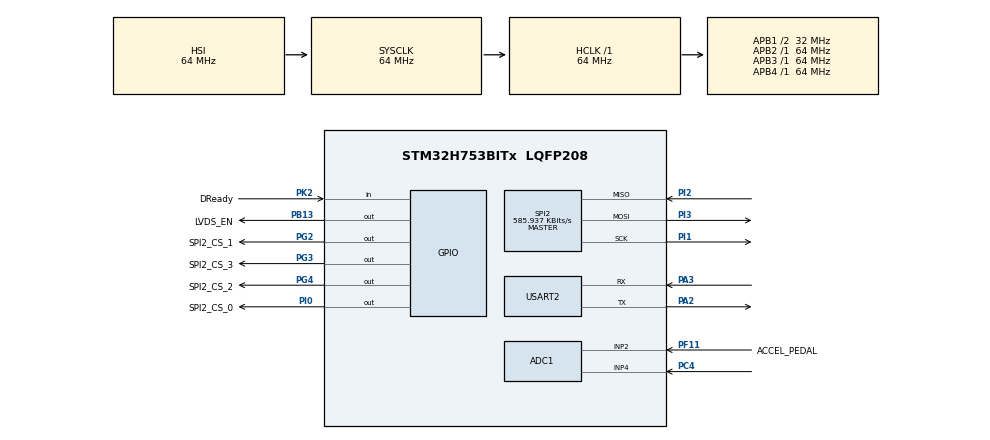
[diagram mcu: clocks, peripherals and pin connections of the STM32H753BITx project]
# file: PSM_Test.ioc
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ADC1.Channel-0\#ChannelRegularConversion=ADC_CHANNEL_2
ADC1.Channel-1\#ChannelRegularConversion=ADC_CHANNEL_2
ADC1.NbrOfConversion=2
ADC1.NbrOfConversionFlag=1
ADC1.OffsetNumber-0\#ChannelRegularConversion=ADC_OFFSET_NONE
ADC1.OffsetNumber-1\#ChannelRegularConversion=ADC_OFFSET_NONE
ADC1.OffsetSignedSaturation-0\#ChannelRegularConversion=DISABLE
ADC1.OffsetSignedSaturation-1\#ChannelRegularConversion=DISABLE
ADC1.Rank-0\#ChannelRegularConversion=1
ADC1.Rank-1\#ChannelRegularConversion=2
ADC1.SamplingTime-0\#ChannelRegularConversion=ADC_SAMPLETIME_64CYCLES_5
ADC1.SamplingTime-1\#ChannelRegularConversion=ADC_SAMPLETIME_64CYCLES_5
ADC1.master=1
CORTEX_M7.CPU_ICache=Disabled
Dma.ADC1.0.Direction=DMA_PERIPH_TO_MEMORY
Dma.ADC1.0.EventEnable=DISABLE
Dma.ADC1.0.FIFOMode=DMA_FIFOMODE_DISABLE
Dma.ADC1.0.Instance=DMA1_Stream0
Dma.ADC1.0.MemDataAlignment=DMA_MDATAALIGN_HALFWORD
Dma.ADC1.0.MemInc=DMA_MINC_ENABLE
Dma.ADC1.0.Mode=DMA_NORMAL
Dma.ADC1.0.PeriphDataAlignment=DMA_PDATAALIGN_HALFWORD
Dma.ADC1.0.PeriphInc=DMA_PINC_DISABLE
Dma.ADC1.0.Polarity=HAL_DMAMUX_REQ_GEN_RISING
Dma.ADC1.0.Priority=DMA_PRIORITY_HIGH
Dma.ADC1.0.RequestNumber=1
Dma.ADC1.0.SignalID=NONE
Dma.ADC1.0.SyncEnable=DISABLE
Dma.ADC1.0.SyncPolarity=HAL_DMAMUX_SYNC_NO_EVENT
Dma.ADC1.0.SyncRequestNumber=1
Dma.ADC1.0.SyncSignalID=NONE
Dma.Request0=ADC1
Mcu.Family=STM32H7
Mcu.Name=STM32H753BITx
Mcu.Package=LQFP208
NVIC.DMA1_Stream0_IRQn=true\:0\:0\:false\:false\:true\:false\:true\:true
NVIC.PriorityGroup=NVIC_PRIORITYGROUP_4
PA13\ (JTMS/SWDIO).Mode=Serial_Wire
PA13\ (JTMS/SWDIO).Signal=DEBUG_JTMS-SWDIO
PA14\ (JTCK/SWCLK).Mode=Serial_Wire
PA14\ (JTCK/SWCLK).Signal=DEBUG_JTCK-SWCLK
PA2.Mode=Asynchronous
PA2.Signal=USART2_TX
PA3.Mode=Asynchronous
PA3.Signal=USART2_RX
PB13.GPIO_Label=LVDS_EN
PB13.Signal=GPIO_Output
PC4.Signal=ADCx_INP4
PF11.GPIO_Label=ACCEL_PEDAL
PF11.Mode=IN2-Single-Ended
PF11.Signal=ADC1_INP2
PG2.GPIO_Label=SPI2_CS_1
PG2.Signal=GPIO_Output
PG3.GPIO_Label=SPI2_CS_3
PG3.Signal=GPIO_Output
PG4.GPIO_Label=SPI2_CS_2
PG4.Signal=GPIO_Output
PI0.GPIO_Label=SPI2_CS_0
PI0.Signal=GPIO_Output
PI1.Mode=Full_Duplex_Master
PI1.Signal=SPI2_SCK
PI2.Mode=Full_Duplex_Master
PI2.Signal=SPI2_MISO
PI3.Mode=Full_Duplex_Master
PI3.Signal=SPI2_MOSI
PK2.GPIO_Label=DReady
PK2.Signal=GPIO_Input
ProjectManager.HeapSize=0x200
ProjectManager.StackSize=0x400
ProjectManager.TargetToolchain=STM32CubeIDE
RCC.ADCFreq_Value=37500000
RCC.APB1Freq_Value=32000000
RCC.APB2Freq_Value=64000000
RCC.APB3Freq_Value=64000000
RCC.APB4Freq_Value=64000000
RCC.CortexFreq_Value=64000000
RCC.D2PPRE1=RCC_APB1_DIV2
RCC.DIVM1=4
RCC.DIVM2=4
RCC.DIVN1=9
RCC.DIVN2=9
RCC.DIVP2=4
RCC.HCLKFreq_Value=64000000
RCC.HSE_VALUE=32000000
RCC.PLL2FRACN=3072
RCC.PLLFRACN=3072
RCC.SYSCLKFreq_VALUE=64000000
RCC.USBFreq_Value=75000000
SH.ADCx_INP4.0=ADC2_INP4
SH.ADCx_INP4.1=ADC1_INP4,IN4-Single-Ended
SPI2.BaudRatePrescaler=SPI_BAUDRATEPRESCALER_128
SPI2.CalculateBaudRate=585.937 KBits/s
SPI2.DataSize=SPI_DATASIZE_8BIT
SPI2.Direction=SPI_DIRECTION_2LINES
SPI2.Mode=SPI_MODE_MASTER
SPI2.VirtualType=VM_MASTER
USART2.VirtualMode-Asynchronous=VM_ASYNC
VREF+.Mode=InternalMode
VREF+.Signal=VREFBUF_OUT
board=custom

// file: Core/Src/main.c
/* USER CODE BEGIN Header */
/**
  ******************************************************************************
  * @file           : main.c
  * @brief          : Main program body
  ******************************************************************************
  * @attention
  *
  * Copyright (c) 2022 STMicroelectronics.
  * All rights reserved.
  *
  * This software is licensed under terms that can be found in the LICENSE file
  * in the root directory of this software component.
  * If no LICENSE file comes with this software, it is provided AS-IS.
  *
  ******************************************************************************
  */
/* USER CODE END Header */
#include "main.h"

/* USER CODE BEGIN Includes */
#include "psm.h"
#include <stdlib.h>
#include <string.h>
#include <stdio.h>

/* USER CODE END Includes */

ADC_HandleTypeDef hadc1;
DMA_HandleTypeDef hdma_adc1;

SPI_HandleTypeDef hspi2;

UART_HandleTypeDef huart2;

/* USER CODE BEGIN PV */
uint32_t pedals_readings[2];

/* USER CODE END PV */

void SystemClock_Config(void);
static void MX_GPIO_Init(void);
static void MX_SPI2_Init(void);
static void MX_DMA_Init(void);
static void MX_ADC1_Init(void);
static void MX_USART2_UART_Init(void);

int main(void)
{

  /* MCU Configuration--------------------------------------------------------*/

  /* Reset of all peripherals, Initializes the Flash interface and the Systick. */
  HAL_Init();

  /* Configure the system clock */
  SystemClock_Config();

  /* Initialize all configured peripherals */
  MX_GPIO_Init();
  MX_SPI2_Init();
  MX_DMA_Init();
  MX_ADC1_Init();
  MX_USART2_UART_Init();
  /* USER CODE BEGIN 2 */

  //PSM-related variables
	struct PSM_Peripheral psmPeriph;

	psmPeriph.CSPin0 = SPI2_CS_0_Pin;
	psmPeriph.CSPin1 = SPI2_CS_1_Pin;
	psmPeriph.CSPin2 = SPI2_CS_2_Pin;
	psmPeriph.CSPin3 = SPI2_CS_3_Pin;

	psmPeriph.CSPort0 = SPI2_CS_0_GPIO_Port;
	psmPeriph.CSPort1 = SPI2_CS_1_GPIO_Port;
	psmPeriph.CSPort2 = SPI2_CS_2_GPIO_Port;
	psmPeriph.CSPort3 = SPI2_CS_3_GPIO_Port;

	psmPeriph.LVDSPort = LVDS_EN_GPIO_Port;
	psmPeriph.LVDSPin = LVDS_EN_Pin;

	psmPeriph.DreadyPin = DReady_Pin;
	psmPeriph.DreadyPort = DReady_GPIO_Port;

	PSM_Init(&psmPeriph, 2); //2nd argument is PSM ID (2 for MCMB)
	configPSM(&psmPeriph, &hspi2, &huart2, "12", 2000); //2000ms timeout

	//Uncomment for PSM #2
//	PSM_Init(&psmPeriph, 2); //2nd argument is PSM ID
//	configPSM(&psmPeriph, &hspi2, &huart2, "1");

	//Uncomment for PSM #3
//	PSM_Init(&psmPeriph, 3); //2nd argument is PSM ID
//	configPSM(&psmPeriph, &hspi2, &huart2, "1234");

  /* USER CODE END 2 */

  /* Infinite loop */
  while (1){

    /* USER CODE BEGIN 3 */

	  double PSM_Measurement[2] = {-1, -1};

	PSMRead(&psmPeriph, &hspi2, &huart2, 1, 2, 1, PSM_Measurement, 2);

	  //Uncomment for PSM #1
//	  /* CHANNEL #1 */ PSMRead(&psmPeriph, &hspi2, &huart2, 1, 2, 1, PSM_Measurement, 2);
//	  /* CHANNEL #2 */ PSMRead(&psmPerioh, &hspi2, &huart2, 1, 2, 2, PSM_Measurement, 2);

//	  Uncomment for PSM #2
//	  /* CHANNEL #1 */ PSMRead(&psmPeriph, &hspi2, &huart2, 0, 1, 1, PSM_Measurement, 2);
		PSMRead(&psmPeriph, &hspi2, &huart2, 1, 2, 1, PSM_Measurement, 2);

	  //Uncomment for PSM #3
//	  /* CHANNEL #1 */ PSMRead(&psmPerioh, &hspi2, &huart2, 1, 2, 1, PSM_Measurement, 2);
//	  /* CHANNEL #2 */ PSMRead(&psmPerioh, &hspi2, &huart2, 1, 2, 2, PSM_Measurement, 2);
//	  /* CHANNEL #3 */ PSMRead(&psmPerioh, &hspi2, &huart2, 1, 2, 3, PSM_Measurement, 2);
//	  /* CHANNEL #4 */ PSMRead(&psmPerioh, &hspi2, &huart2, 1, 2, 4, PSM_Measurement, 2);

//      HAL_ADC_Start(&hadc1);
      HAL_ADC_PollForConversion(&hadc1, 1);
//      pedals_readings[0] = HAL_ADC_GetValue(&hadc1);
//      pedals_readings[1] = HAL_ADC_GetValue(&hadc1);
//
//      char string[50];
//      sprintf(string, "Accel: %d\nRegen: %d\n\n", pedals_readings[0], pedals_readings[1]);
//      HAL_UART_Transmit(&huart2, string, sizeof(string), 10);

//	  char string[50];
//	  sprintf(string, "xx%lf, %lf\n", PSM_Measurement[0], PSM_Measurement[1]);
//      HAL_UART_Transmit(&huart2, string, sizeof(string), 10);

//	  HAL_Delay(2000);
  }
  /* USER CODE END 3 */
}

void SystemClock_Config(void)
{
  RCC_OscInitTypeDef RCC_OscInitStruct = {0};
  RCC_ClkInitTypeDef RCC_ClkInitStruct = {0};

  /** Supply configuration update enable
  */
  HAL_PWREx_ConfigSupply(PWR_LDO_SUPPLY);
  /** Configure the main internal regulator output voltage
  */
  __HAL_PWR_VOLTAGESCALING_CONFIG(PWR_REGULATOR_VOLTAGE_SCALE3);

  while(!__HAL_PWR_GET_FLAG(PWR_FLAG_VOSRDY)) {}
  /** Macro to configure the PLL clock source
  */
  __HAL_RCC_PLL_PLLSOURCE_CONFIG(RCC_PLLSOURCE_HSI);
  /** Initializes the RCC Oscillators according to the specified parameters
  * in the RCC_OscInitTypeDef structure.
  */
  RCC_OscInitStruct.OscillatorType = RCC_OSCILLATORTYPE_HSI;
  RCC_OscInitStruct.HSIState = RCC_HSI_DIV1;
  RCC_OscInitStruct.HSICalibrationValue = RCC_HSICALIBRATION_DEFAULT;
  RCC_OscInitStruct.PLL.PLLState = RCC_PLL_ON;
  RCC_OscInitStruct.PLL.PLLSource = RCC_PLLSOURCE_HSI;
  RCC_OscInitStruct.PLL.PLLM = 4;
  RCC_OscInitStruct.PLL.PLLN = 9;
  RCC_OscInitStruct.PLL.PLLP = 2;
  RCC_OscInitStruct.PLL.PLLQ = 2;
  RCC_OscInitStruct.PLL.PLLR = 2;
  RCC_OscInitStruct.PLL.PLLRGE = RCC_PLL1VCIRANGE_3;
  RCC_OscInitStruct.PLL.PLLVCOSEL = RCC_PLL1VCOMEDIUM;
  RCC_OscInitStruct.PLL.PLLFRACN = 3072;
  if (HAL_RCC_OscConfig(&RCC_OscInitStruct) != HAL_OK)
  {
    Error_Handler();
  }
  /** Initializes the CPU, AHB and APB buses clocks
  */
  RCC_ClkInitStruct.ClockType = RCC_CLOCKTYPE_HCLK|RCC_CLOCKTYPE_SYSCLK
                              |RCC_CLOCKTYPE_PCLK1|RCC_CLOCKTYPE_PCLK2
                              |RCC_CLOCKTYPE_D3PCLK1|RCC_CLOCKTYPE_D1PCLK1;
  RCC_ClkInitStruct.SYSCLKSource = RCC_SYSCLKSOURCE_HSI;
  RCC_ClkInitStruct.SYSCLKDivider = RCC_SYSCLK_DIV1;
  RCC_ClkInitStruct.AHBCLKDivider = RCC_HCLK_DIV1;
  RCC_ClkInitStruct.APB3CLKDivider = RCC_APB3_DIV1;
  RCC_ClkInitStruct.APB1CLKDivider = RCC_APB1_DIV2;
  RCC_ClkInitStruct.APB2CLKDivider = RCC_APB2_DIV1;
  RCC_ClkInitStruct.APB4CLKDivider = RCC_APB4_DIV1;

  if (HAL_RCC_ClockConfig(&RCC_ClkInitStruct, FLASH_LATENCY_1) != HAL_OK)
  {
    Error_Handler();
  }
}

static void MX_ADC1_Init(void)
{

  ADC_MultiModeTypeDef multimode = {0};
  ADC_ChannelConfTypeDef sConfig = {0};

  /** Common config
  */
  hadc1.Instance = ADC1;
  hadc1.Init.ClockPrescaler = ADC_CLOCK_ASYNC_DIV1;
  hadc1.Init.Resolution = ADC_RESOLUTION_16B;
  hadc1.Init.ScanConvMode = ADC_SCAN_ENABLE;
  hadc1.Init.EOCSelection = ADC_EOC_SINGLE_CONV;
  hadc1.Init.LowPowerAutoWait = DISABLE;
  hadc1.Init.ContinuousConvMode = DISABLE;
  hadc1.Init.NbrOfConversion = 2;
  hadc1.Init.DiscontinuousConvMode = DISABLE;
  hadc1.Init.ExternalTrigConv = ADC_SOFTWARE_START;
  hadc1.Init.ExternalTrigConvEdge = ADC_EXTERNALTRIGCONVEDGE_NONE;
  hadc1.Init.ConversionDataManagement = ADC_CONVERSIONDATA_DR;
  hadc1.Init.Overrun = ADC_OVR_DATA_PRESERVED;
  hadc1.Init.LeftBitShift = ADC_LEFTBITSHIFT_NONE;
  hadc1.Init.OversamplingMode = DISABLE;
  if (HAL_ADC_Init(&hadc1) != HAL_OK)
  {
    Error_Handler();
  }
  /** Configure the ADC multi-mode
  */
  multimode.Mode = ADC_MODE_INDEPENDENT;
  if (HAL_ADCEx_MultiModeConfigChannel(&hadc1, &multimode) != HAL_OK)
  {
    Error_Handler();
  }
  /** Configure Regular Channel
  */
  sConfig.Channel = ADC_CHANNEL_2;
  sConfig.Rank = ADC_REGULAR_RANK_1;
  sConfig.SamplingTime = ADC_SAMPLETIME_64CYCLES_5;
  sConfig.SingleDiff = ADC_SINGLE_ENDED;
  sConfig.OffsetNumber = ADC_OFFSET_NONE;
  sConfig.Offset = 0;
  sConfig.OffsetSignedSaturation = DISABLE;
  if (HAL_ADC_ConfigChannel(&hadc1, &sConfig) != HAL_OK)
  {
    Error_Handler();
  }
  /** Configure Regular Channel
  */
  sConfig.Rank = ADC_REGULAR_RANK_2;
  if (HAL_ADC_ConfigChannel(&hadc1, &sConfig) != HAL_OK)
  {
    Error_Handler();
  }

}

static void MX_SPI2_Init(void)
{

  /* SPI2 parameter configuration*/
  hspi2.Instance = SPI2;
  hspi2.Init.Mode = SPI_MODE_MASTER;
  hspi2.Init.Direction = SPI_DIRECTION_2LINES;
  hspi2.Init.DataSize = SPI_DATASIZE_8BIT;
  hspi2.Init.CLKPolarity = SPI_POLARITY_LOW;
  hspi2.Init.CLKPhase = SPI_PHASE_1EDGE;
  hspi2.Init.NSS = SPI_NSS_SOFT;
  hspi2.Init.BaudRatePrescaler = SPI_BAUDRATEPRESCALER_128;
  hspi2.Init.FirstBit = SPI_FIRSTBIT_MSB;
  hspi2.Init.TIMode = SPI_TIMODE_DISABLE;
  hspi2.Init.CRCCalculation = SPI_CRCCALCULATION_DISABLE;
  hspi2.Init.CRCPolynomial = 0x0;
  hspi2.Init.NSSPMode = SPI_NSS_PULSE_ENABLE;
  hspi2.Init.NSSPolarity = SPI_NSS_POLARITY_LOW;
  hspi2.Init.FifoThreshold = SPI_FIFO_THRESHOLD_01DATA;
  hspi2.Init.TxCRCInitializationPattern = SPI_CRC_INITIALIZATION_ALL_ZERO_PATTERN;
  hspi2.Init.RxCRCInitializationPattern = SPI_CRC_INITIALIZATION_ALL_ZERO_PATTERN;
  hspi2.Init.MasterSSIdleness = SPI_MASTER_SS_IDLENESS_00CYCLE;
  hspi2.Init.MasterInterDataIdleness = SPI_MASTER_INTERDATA_IDLENESS_00CYCLE;
  hspi2.Init.MasterReceiverAutoSusp = SPI_MASTER_RX_AUTOSUSP_DISABLE;
  hspi2.Init.MasterKeepIOState = SPI_MASTER_KEEP_IO_STATE_DISABLE;
  hspi2.Init.IOSwap = SPI_IO_SWAP_DISABLE;
  if (HAL_SPI_Init(&hspi2) != HAL_OK)
  {
    Error_Handler();
  }

}

static void MX_USART2_UART_Init(void)
{

  huart2.Instance = USART2;
  huart2.Init.BaudRate = 115200;
  huart2.Init.WordLength = UART_WORDLENGTH_8B;
  huart2.Init.StopBits = UART_STOPBITS_1;
  huart2.Init.Parity = UART_PARITY_NONE;
  huart2.Init.Mode = UART_MODE_TX_RX;
  huart2.Init.HwFlowCtl = UART_HWCONTROL_NONE;
  huart2.Init.OverSampling = UART_OVERSAMPLING_16;
  huart2.Init.OneBitSampling = UART_ONE_BIT_SAMPLE_DISABLE;
  huart2.Init.ClockPrescaler = UART_PRESCALER_DIV1;
  huart2.AdvancedInit.AdvFeatureInit = UART_ADVFEATURE_NO_INIT;
  if (HAL_UART_Init(&huart2) != HAL_OK)
  {
    Error_Handler();
  }
  if (HAL_UARTEx_SetTxFifoThreshold(&huart2, UART_TXFIFO_THRESHOLD_1_8) != HAL_OK)
  {
    Error_Handler();
  }
  if (HAL_UARTEx_SetRxFifoThreshold(&huart2, UART_RXFIFO_THRESHOLD_1_8) != HAL_OK)
  {
    Error_Handler();
  }
  if (HAL_UARTEx_DisableFifoMode(&huart2) != HAL_OK)
  {
    Error_Handler();
  }

}

static void MX_DMA_Init(void)
{

  /* DMA controller clock enable */
  __HAL_RCC_DMA1_CLK_ENABLE();

  /* DMA interrupt init */
  /* DMA1_Stream0_IRQn interrupt configuration */
  HAL_NVIC_SetPriority(DMA1_Stream0_IRQn, 0, 0);
  HAL_NVIC_EnableIRQ(DMA1_Stream0_IRQn);

}

static void MX_GPIO_Init(void)
{
  GPIO_InitTypeDef GPIO_InitStruct = {0};

  /* GPIO Ports Clock Enable */
  __HAL_RCC_GPIOE_CLK_ENABLE();
  __HAL_RCC_GPIOI_CLK_ENABLE();
  __HAL_RCC_GPIOC_CLK_ENABLE();
  __HAL_RCC_GPIOF_CLK_ENABLE();
  __HAL_RCC_GPIOH_CLK_ENABLE();
  __HAL_RCC_GPIOA_CLK_ENABLE();
  __HAL_RCC_GPIOB_CLK_ENABLE();
  __HAL_RCC_GPIOJ_CLK_ENABLE();
  __HAL_RCC_GPIOG_CLK_ENABLE();
  __HAL_RCC_GPIOD_CLK_ENABLE();
  __HAL_RCC_GPIOK_CLK_ENABLE();

  /*Configure GPIO pin Output Level */
  HAL_GPIO_WritePin(LVDS_EN_GPIO_Port, LVDS_EN_Pin, GPIO_PIN_RESET);

  /*Configure GPIO pin Output Level */
  HAL_GPIO_WritePin(GPIOG, SPI2_CS_1_Pin|SPI2_CS_3_Pin|SPI2_CS_2_Pin, GPIO_PIN_RESET);

  /*Configure GPIO pin Output Level */
  HAL_GPIO_WritePin(SPI2_CS_0_GPIO_Port, SPI2_CS_0_Pin, GPIO_PIN_RESET);

  /*Configure GPIO pins : PE2 PE3 PE4 PE5
                           PE6 PE7 PE8 PE9
                           PE10 PE11 PE12 PE13
                           PE14 PE15 PE0 PE1 */
  GPIO_InitStruct.Pin = GPIO_PIN_2|GPIO_PIN_3|GPIO_PIN_4|GPIO_PIN_5
                          |GPIO_PIN_6|GPIO_PIN_7|GPIO_PIN_8|GPIO_PIN_9
                          |GPIO_PIN_10|GPIO_PIN_11|GPIO_PIN_12|GPIO_PIN_13
                          |GPIO_PIN_14|GPIO_PIN_15|GPIO_PIN_0|GPIO_PIN_1;
  GPIO_InitStruct.Mode = GPIO_MODE_ANALOG;
  GPIO_InitStruct.Pull = GPIO_NOPULL;
  HAL_GPIO_Init(GPIOE, &GPIO_InitStruct);

  /*Configure GPIO pins : PI8 PI9 PI10 PI11
                           PI12 PI13 PI14 PI15
                           PI4 PI5 PI6 PI7 */
  GPIO_InitStruct.Pin = GPIO_PIN_8|GPIO_PIN_9|GPIO_PIN_10|GPIO_PIN_11
                          |GPIO_PIN_12|GPIO_PIN_13|GPIO_PIN_14|GPIO_PIN_15
                          |GPIO_PIN_4|GPIO_PIN_5|GPIO_PIN_6|GPIO_PIN_7;
  GPIO_InitStruct.Mode = GPIO_MODE_ANALOG;
  GPIO_InitStruct.Pull = GPIO_NOPULL;
  HAL_GPIO_Init(GPIOI, &GPIO_InitStruct);

  /*Configure GPIO pins : PC13 PC14 PC15 PC0
                           PC1 PC2 PC3 PC4
                           PC5 PC6 PC7 PC8
                           PC9 PC10 PC11 PC12 */
  GPIO_InitStruct.Pin = GPIO_PIN_13|GPIO_PIN_14|GPIO_PIN_15|GPIO_PIN_0
                          |GPIO_PIN_1|GPIO_PIN_2|GPIO_PIN_3|GPIO_PIN_4
                          |GPIO_PIN_5|GPIO_PIN_6|GPIO_PIN_7|GPIO_PIN_8
                          |GPIO_PIN_9|GPIO_PIN_10|GPIO_PIN_11|GPIO_PIN_12;
  GPIO_InitStruct.Mode = GPIO_MODE_ANALOG;
  GPIO_InitStruct.Pull = GPIO_NOPULL;
  HAL_GPIO_Init(GPIOC, &GPIO_InitStruct);

  /*Configure GPIO pins : PF0 PF1 PF2 PF3
                           PF4 PF5 PF6 PF7
                           PF8 PF9 PF10 PF12
                           PF13 PF14 PF15 */
  GPIO_InitStruct.Pin = GPIO_PIN_0|GPIO_PIN_1|GPIO_PIN_2|GPIO_PIN_3
                          |GPIO_PIN_4|GPIO_PIN_5|GPIO_PIN_6|GPIO_PIN_7
                          |GPIO_PIN_8|GPIO_PIN_9|GPIO_PIN_10|GPIO_PIN_12
                          |GPIO_PIN_13|GPIO_PIN_14|GPIO_PIN_15;
  GPIO_InitStruct.Mode = GPIO_MODE_ANALOG;
  GPIO_InitStruct.Pull = GPIO_NOPULL;
  HAL_GPIO_Init(GPIOF, &GPIO_InitStruct);

  /*Configure GPIO pins : PH0 PH1 PH2 PH3
                           PH4 PH5 PH6 PH7
                           PH8 PH9 PH10 PH11
                           PH12 PH13 PH14 PH15 */
  GPIO_InitStruct.Pin = GPIO_PIN_0|GPIO_PIN_1|GPIO_PIN_2|GPIO_PIN_3
                          |GPIO_PIN_4|GPIO_PIN_5|GPIO_PIN_6|GPIO_PIN_7
                          |GPIO_PIN_8|GPIO_PIN_9|GPIO_PIN_10|GPIO_PIN_11
                          |GPIO_PIN_12|GPIO_PIN_13|GPIO_PIN_14|GPIO_PIN_15;
  GPIO_InitStruct.Mode = GPIO_MODE_ANALOG;
  GPIO_InitStruct.Pull = GPIO_NOPULL;
  HAL_GPIO_Init(GPIOH, &GPIO_InitStruct);

  /*Configure GPIO pins : PA0 PA1 PA4 PA5
                           PA6 PA7 PA8 PA9
                           PA10 PA11 PA12 PA15 */
  GPIO_InitStruct.Pin = GPIO_PIN_0|GPIO_PIN_1|GPIO_PIN_4|GPIO_PIN_5
                          |GPIO_PIN_6|GPIO_PIN_7|GPIO_PIN_8|GPIO_PIN_9
                          |GPIO_PIN_10|GPIO_PIN_11|GPIO_PIN_12|GPIO_PIN_15;
  GPIO_InitStruct.Mode = GPIO_MODE_ANALOG;
  GPIO_InitStruct.Pull = GPIO_NOPULL;
  HAL_GPIO_Init(GPIOA, &GPIO_InitStruct);

  /*Configure GPIO pins : PB0 PB1 PB2 PB10
                           PB11 PB12 PB14 PB15
                           PB3 PB4 PB5 PB6
                           PB7 PB8 PB9 */
  GPIO_InitStruct.Pin = GPIO_PIN_0|GPIO_PIN_1|GPIO_PIN_2|GPIO_PIN_10
                          |GPIO_PIN_11|GPIO_PIN_12|GPIO_PIN_14|GPIO_PIN_15
                          |GPIO_PIN_3|GPIO_PIN_4|GPIO_PIN_5|GPIO_PIN_6
                          |GPIO_PIN_7|GPIO_PIN_8|GPIO_PIN_9;
  GPIO_InitStruct.Mode = GPIO_MODE_ANALOG;
  GPIO_InitStruct.Pull = GPIO_NOPULL;
  HAL_GPIO_Init(GPIOB, &GPIO_InitStruct);

  /*Configure GPIO pins : PJ0 PJ1 PJ2 PJ3
                           PJ4 PJ5 PJ6 PJ7
                           PJ8 PJ9 PJ10 PJ11
                           PJ12 PJ13 PJ14 PJ15 */
  GPIO_InitStruct.Pin = GPIO_PIN_0|GPIO_PIN_1|GPIO_PIN_2|GPIO_PIN_3
                          |GPIO_PIN_4|GPIO_PIN_5|GPIO_PIN_6|GPIO_PIN_7
                          |GPIO_PIN_8|GPIO_PIN_9|GPIO_PIN_10|GPIO_PIN_11
                          |GPIO_PIN_12|GPIO_PIN_13|GPIO_PIN_14|GPIO_PIN_15;
  GPIO_InitStruct.Mode = GPIO_MODE_ANALOG;
  GPIO_InitStruct.Pull = GPIO_NOPULL;
  HAL_GPIO_Init(GPIOJ, &GPIO_InitStruct);

  /*Configure GPIO pins : PG0 PG1 PG5 PG6
                           PG7 PG8 PG9 PG10
                           PG11 PG12 PG13 PG14
                           PG15 */
  GPIO_InitStruct.Pin = GPIO_PIN_0|GPIO_PIN_1|GPIO_PIN_5|GPIO_PIN_6
                          |GPIO_PIN_7|GPIO_PIN_8|GPIO_PIN_9|GPIO_PIN_10
                          |GPIO_PIN_11|GPIO_PIN_12|GPIO_PIN_13|GPIO_PIN_14
                          |GPIO_PIN_15;
  GPIO_InitStruct.Mode = GPIO_MODE_ANALOG;
  GPIO_InitStruct.Pull = GPIO_NOPULL;
  HAL_GPIO_Init(GPIOG, &GPIO_InitStruct);

  /*Configure GPIO pin : LVDS_EN_Pin */
  GPIO_InitStruct.Pin = LVDS_EN_Pin;
  GPIO_InitStruct.Mode = GPIO_MODE_OUTPUT_PP;
  GPIO_InitStruct.Pull = GPIO_NOPULL;
  GPIO_InitStruct.Speed = GPIO_SPEED_FREQ_LOW;
  HAL_GPIO_Init(LVDS_EN_GPIO_Port, &GPIO_InitStruct);

  /*Configure GPIO pins : PD8 PD9 PD10 PD11
                           PD12 PD13 PD14 PD15
                           PD0 PD1 PD2 PD3
                           PD4 PD5 PD6 PD7 */
  GPIO_InitStruct.Pin = GPIO_PIN_8|GPIO_PIN_9|GPIO_PIN_10|GPIO_PIN_11
                          |GPIO_PIN_12|GPIO_PIN_13|GPIO_PIN_14|GPIO_PIN_15
                          |GPIO_PIN_0|GPIO_PIN_1|GPIO_PIN_2|GPIO_PIN_3
                          |GPIO_PIN_4|GPIO_PIN_5|GPIO_PIN_6|GPIO_PIN_7;
  GPIO_InitStruct.Mode = GPIO_MODE_ANALOG;
  GPIO_InitStruct.Pull = GPIO_NOPULL;
  HAL_GPIO_Init(GPIOD, &GPIO_InitStruct);

  /*Configure GPIO pins : PK0 PK1 PK3 PK4
                           PK5 PK6 PK7 */
  GPIO_InitStruct.Pin = GPIO_PIN_0|GPIO_PIN_1|GPIO_PIN_3|GPIO_PIN_4
                          |GPIO_PIN_5|GPIO_PIN_6|GPIO_PIN_7;
  GPIO_InitStruct.Mode = GPIO_MODE_ANALOG;
  GPIO_InitStruct.Pull = GPIO_NOPULL;
  HAL_GPIO_Init(GPIOK, &GPIO_InitStruct);

  /*Configure GPIO pin : DReady_Pin */
  GPIO_InitStruct.Pin = DReady_Pin;
  GPIO_InitStruct.Mode = GPIO_MODE_INPUT;
  GPIO_InitStruct.Pull = GPIO_NOPULL;
  HAL_GPIO_Init(DReady_GPIO_Port, &GPIO_InitStruct);

  /*Configure GPIO pins : SPI2_CS_1_Pin SPI2_CS_3_Pin SPI2_CS_2_Pin */
  GPIO_InitStruct.Pin = SPI2_CS_1_Pin|SPI2_CS_3_Pin|SPI2_CS_2_Pin;
  GPIO_InitStruct.Mode = GPIO_MODE_OUTPUT_PP;
  GPIO_InitStruct.Pull = GPIO_NOPULL;
  GPIO_InitStruct.Speed = GPIO_SPEED_FREQ_LOW;
  HAL_GPIO_Init(GPIOG, &GPIO_InitStruct);

  /*Configure GPIO pin : SPI2_CS_0_Pin */
  GPIO_InitStruct.Pin = SPI2_CS_0_Pin;
  GPIO_InitStruct.Mode = GPIO_MODE_OUTPUT_PP;
  GPIO_InitStruct.Pull = GPIO_NOPULL;
  GPIO_InitStruct.Speed = GPIO_SPEED_FREQ_LOW;
  HAL_GPIO_Init(SPI2_CS_0_GPIO_Port, &GPIO_InitStruct);

}

void Error_Handler(void)
{
  __disable_irq();
  while (1)
  {
  }
}
